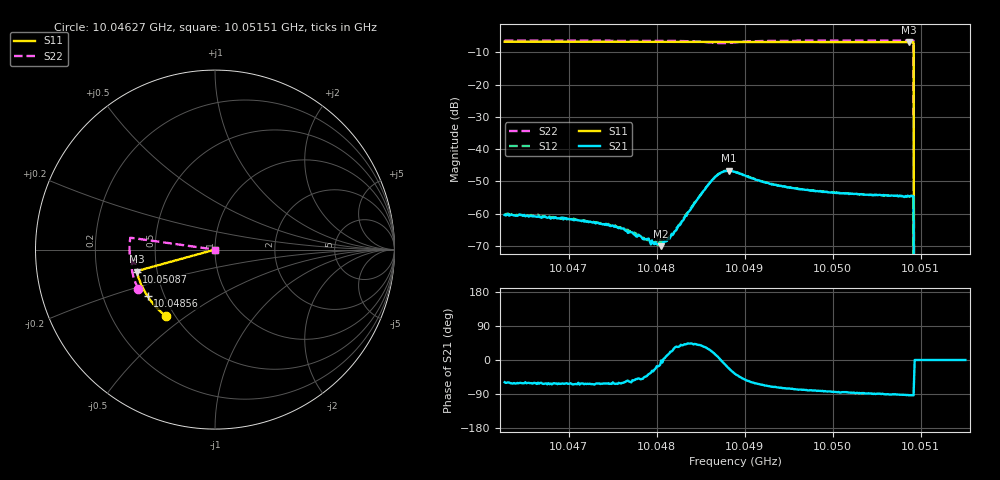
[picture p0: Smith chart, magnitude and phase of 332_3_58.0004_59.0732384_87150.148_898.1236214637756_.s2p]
#  HZ  S  RI  R  50.00
! Rohde & Schwarz Vector Network Analyzer
! Rohde-Schwarz,ZNB20-2Port,1311601062101988,3.16
! Created: UTC 3/21/2024, 1:05:09 AM
! freq[Hz]  re:S11  im:S11  re:S21  im:S21  re:S12  im:S12  re:S22  im:S22
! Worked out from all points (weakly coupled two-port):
!   401 points, 10.04627 GHz to 10.05151 GHz, reference 50 ohm
!   highest |S21| = -46.70 dB at 10.04883 GHz (marker M1); lowest = -70.0 dB at 10.04805 GHz (marker M2)
!   lowest |S11| = -6.9 dB at 10.05087 GHz (marker M3), VSWR 2.66, Z = 19.1 - j5.93 ohm
!   |S11| at or under -10 dB: 10.05092 GHz to end of sweep
!   |S22| runs from - to -6.4 dB; largest |S21 - S12| = 0.00034
!   S11 on the Smith chart (normalised r, x): 10.04627 GHz: 0.45, -0.42; 10.04856 GHz: 0.40, -0.27; 10.05087 GHz: 0.38, -0.12; 10.05151 GHz: 1.00, +0.00
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1.0046274e10  -0.2735 -0.3718  0.0005 -0.000819  0.00055 -0.000815  -0.4272 -0.221
1.004664e10  -0.2921 -0.3562  0.000405 -0.000801  0.000503 -0.000792  -0.4375 -0.1987
1.0047151e10  -0.3166 -0.333  0.000364 -0.000678  0.000413 -0.00067  -0.4495 -0.1661
1.0047608e10  -0.3371 -0.3109  0.000292 -0.000518  0.000327 -0.00047  -0.4584 -0.1354
1.0047739e10  -0.3427 -0.3043  0.000286 -0.00039  0.000349 -0.00041  -0.4604 -0.1261
1.0047949e10  -0.3514 -0.2934  0.000341 -0.000184  0.000313 -0.000168  -0.4628 -0.1108
1.0048027e10  -0.3546 -0.2893  0.000334 -9.4e-05  0.00033 -8.28e-05  -0.4633 -0.1047
1.0048053e10  -0.3556 -0.288  0.000315 -5.25e-06  0.00033 1.27e-05  -0.4638 -0.1026
1.0048119e10  -0.3582 -0.2845  0.000373 7.89e-05  0.000384 0.000128  -0.4641 -0.0975
1.0048184e10  -0.3607 -0.2811  0.000428 0.000206  0.000408 0.000244  -0.4642 -0.092
1.0048564e10  -0.3749 -0.2603  0.00216 0.00139  0.0021 0.00149  -0.4495 -0.0589
1.0048642e10  -0.3776 -0.256  0.00324 0.00114  0.00318 0.00137  -0.4403 -0.0573
1.0048707e10  -0.3798 -0.2525  0.0041 0.000388  0.00412 0.000663  -0.4332 -0.0619
1.0048825e10  -0.3837 -0.2462  0.00426 -0.00181  0.00437 -0.0016  -0.4359 -0.0756
1.0048891e10  -0.386 -0.2426  0.00357 -0.00265  0.00379 -0.00239  -0.4437 -0.0782
1.0049309e10  -0.3995 -0.2186  0.000953 -0.00267  0.00115 -0.00266  -0.4709 -0.048
1.0049767e10  -0.4126 -0.1913  0.00039 -0.00228  0.000511 -0.00224  -0.476 -0.013
1.0050644e10  -0.432 -0.1372  -4.12e-05 -0.0019  5.93e-05 -0.00193  -0.474 0.048
1.0050866e10  -0.4359 -0.1231  -0.000108 -0.00187  1.1e-05 -0.00185  -0.4721 0.0628
1.0050892e10  -0.4365 -0.1215  -9.62e-05 -0.0019  1.64e-07 -0.00189  -0.4719 0.0645
1.0050958e10  0 0  0 0  0 0  0 0
1.0051507e10  0 0  0 0  0 0  0 0
